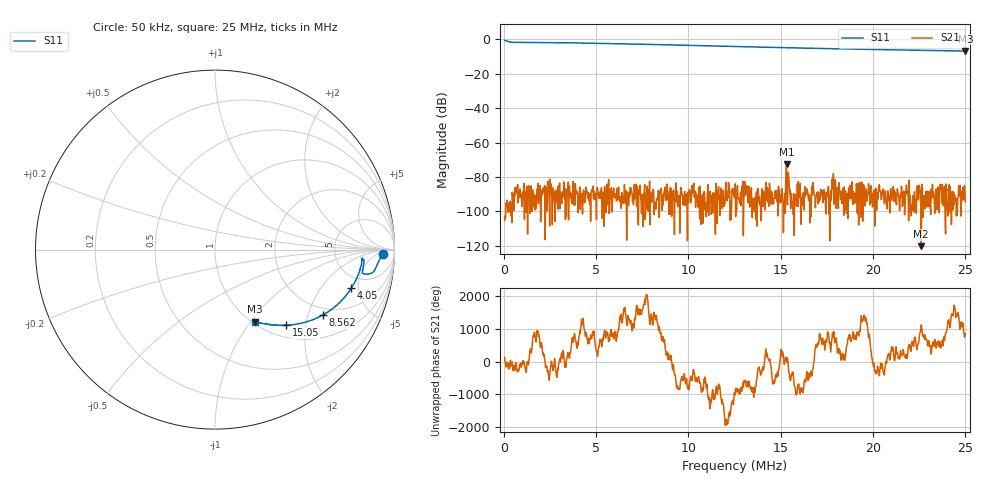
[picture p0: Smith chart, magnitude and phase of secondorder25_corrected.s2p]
# Hz S RI R 50
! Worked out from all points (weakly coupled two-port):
!   1024 points, 50 kHz to 25 MHz, reference 50 ohm
!   highest |S21| = -72.43 dB at 15.32 MHz (marker M1); lowest = -120.2 dB at 22.61 MHz (marker M2)
!   lowest |S11| = -6.8 dB at 25 MHz (marker M3), VSWR 2.70, Z = 51.5 - j52.5 ohm
!   |S11| at or under -10 dB: nowhere
!   S12 and S22 are empty: the file has one direction only
!   S11 on the Smith chart (normalised r, x): 50 kHz: 26, -10; 4.05 MHz: 3.61, -4.12; 8.562 MHz: 1.74, -2.49; 15.05 MHz: 1.23, -1.56; 25 MHz: 1.03, -1.05
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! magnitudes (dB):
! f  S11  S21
! 50 kHz  -0.6  -105.3
! 367.1 kHz  -1.6  -95.0
! 562.2 kHz  -1.7  -99.4
! 4.05 MHz  -2.1  -93.4
! 4.221 MHz  -2.1  -89.5
! 8.367 MHz  -3.0  -87.8
! 8.562 MHz  -3.1  -90.5
! 12.54 MHz  -4.1  -83.9
! 15.05 MHz  -4.7  -90.1
! 15.15 MHz  -4.8  -112.2
! 15.2 MHz  -4.8  -97.0
! 15.24 MHz  -4.8  -101.2
! 15.32 MHz  -4.8  -72.4
! 15.42 MHz  -4.8  -77.4
! 15.46 MHz  -4.8  -84.3
! 15.51 MHz  -4.9  -87.4
! 15.56 MHz  -4.9  -91.1
! 16.71 MHz  -5.1  -90.7
! 17.73 MHz  -5.4  -93.6
! 20.85 MHz  -6.0  -93.6
! 22.61 MHz  -6.4  -120.2
! 25 MHz  -6.8  -94.4
